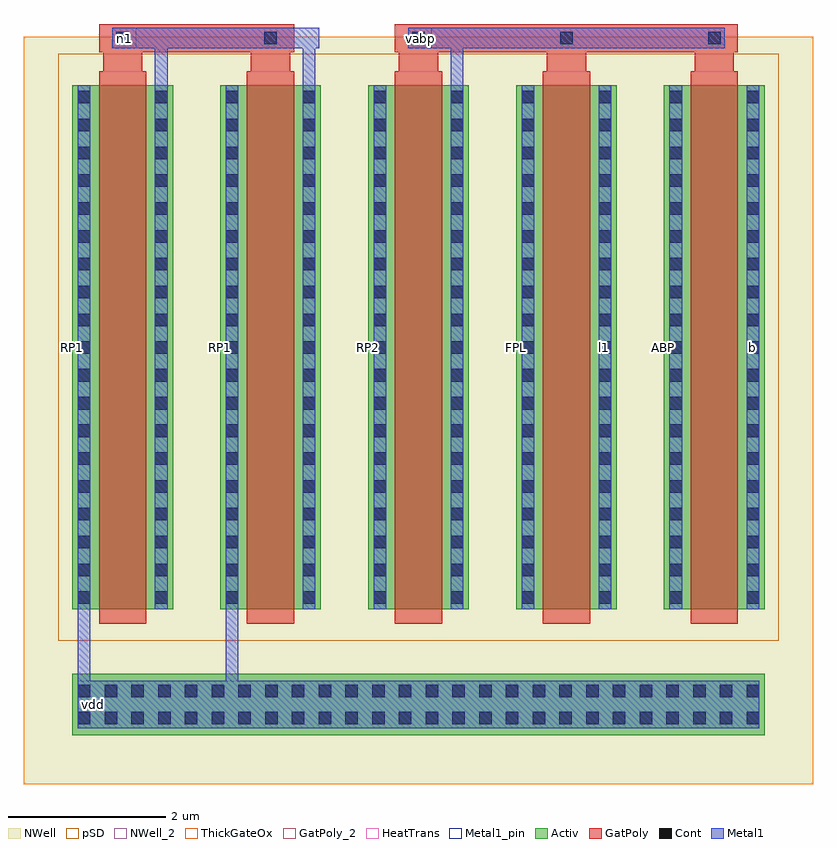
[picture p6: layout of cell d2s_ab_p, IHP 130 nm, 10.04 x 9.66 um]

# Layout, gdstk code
import gdstk
lib = gdstk.Library(unit=1e-6, precision=1e-09)
def R(c, l, rs):  # rectangles x0, y0, x1, y1
    for r in rs: c.add(gdstk.rectangle(r[:2], r[2:], *l))
def A(c, l, x, y, w, h, nx, ny, dx, dy):  # array of equal rectangles
    R(c, l, [(x+i*dx, y+j*dy, x+i*dx+w, y+j*dy+h) for i in range(nx) for j in range(ny)])
Activ = (1, 0)
GatPoly = (5, 0)
GatPoly_2 = (5, 2)
Cont = (6, 0)
Metal1 = (8, 0)
Metal1_pin = (8, 2)
pSD = (14, 0)
NWell = (31, 0)
NWell_2 = (31, 2)
ThickGateOx = (44, 0)
HeatTrans = (51, 0)

pmoshv_5 = lib.new_cell('pmosHV$5')
R(pmoshv_5, Activ, [(0,0,0.3,0.3), (0,0,1.28,6.66), (0.98,0,1.28,0.3)])
R(pmoshv_5, GatPoly, [(0.34,-0.18,0.94,6.84)])
R(pmoshv_5, GatPoly_2, [(0.34,-0.18,0.94,6.84)])
A(pmoshv_5, Cont, 0.07, 0.42, 0.16, 0.16, 1, 3, 0, 0.355)
A(pmoshv_5, Cont, 1.05, 0.42, 0.16, 0.16, 1, 3, 0, 0.355)
A(pmoshv_5, Cont, 0.07, 1.48, 0.16, 0.16, 1, 3, 0, 0.355)
A(pmoshv_5, Cont, 1.05, 1.48, 0.16, 0.16, 1, 3, 0, 0.355)
A(pmoshv_5, Cont, 0.07, 2.54, 0.16, 0.16, 1, 3, 0, 0.355)
A(pmoshv_5, Cont, 1.05, 2.54, 0.16, 0.16, 1, 3, 0, 0.355)
A(pmoshv_5, Cont, 0.07, 3.6, 0.16, 0.16, 1, 3, 0, 0.355)
A(pmoshv_5, Cont, 1.05, 3.6, 0.16, 0.16, 1, 3, 0, 0.355)
A(pmoshv_5, Cont, 0.07, 4.66, 0.16, 0.16, 1, 3, 0, 0.355)
A(pmoshv_5, Cont, 1.05, 4.66, 0.16, 0.16, 1, 3, 0, 0.355)
A(pmoshv_5, Cont, 0.07, 5.72, 0.16, 0.16, 1, 3, 0, 0.355)
A(pmoshv_5, Cont, 1.05, 5.72, 0.16, 0.16, 1, 3, 0, 0.355)
R(pmoshv_5, Cont, [(0.07,0.07,0.23,0.23), (1.05,0.07,1.21,0.23)])
R(pmoshv_5, Metal1, [(0.07,0,0.23,6.66), (1.05,0,1.21,6.66)])
R(pmoshv_5, Metal1_pin, [(0.07,0,0.23,6.66), (1.05,0,1.21,6.66)])
R(pmoshv_5, pSD, [(-0.18,-0.4,1.46,7.06)])
R(pmoshv_5, NWell, [(-0.62,-0.62,1.9,7.28)])
R(pmoshv_5, ThickGateOx, [(-0.62,-0.62,1.9,7.28)])
R(pmoshv_5, HeatTrans, [(0.34,-0.18,0.94,6.84)])
pmoshv_5.add(gdstk.Label('pmosHV', (0.64,3.33), layer=63, texttype=0))
pmoshv_5.add(gdstk.Label('pmos', (0.64,3.33), layer=51, texttype=0))

ntap1_7 = lib.new_cell('ntap1$7')
R(ntap1_7, Activ, [(0,0,8.8,0.78)])
A(ntap1_7, Cont, 0.07, 0.14, 0.16, 0.16, 26, 2, 0.34, 0.34)
R(ntap1_7, Metal1, [(0.07,0.09,8.73,0.69)])
R(ntap1_7, Metal1_pin, [(0.07,0.09,8.73,0.69), (0.07,0.14,8.73,0.64)])
R(ntap1_7, NWell, [(-0.24,-0.24,9.04,1.02), (0,0,8.8,0.78)])
R(ntap1_7, NWell_2, [(0,0,8.8,0.78)])
ntap1_7.add(gdstk.Label('well', (4.4,0.01), layer=63, texttype=0))
ntap1_7.add(gdstk.Label('well', (4.4,0.01), layer=31, texttype=0))

d2s_ab_p = lib.new_cell('d2s_ab_p')
A(d2s_ab_p, GatPoly, 0.39, 6.66, 0.5, 0.43, 5, 1, 1.88, 0)
R(d2s_ab_p, GatPoly, [(0.34,7.08,2.82,7.44), (4.1,7.08,8.46,7.44)])
A(d2s_ab_p, Cont, 0.56, 7.18, 0.16, 0.16, 5, 1, 1.88, 0)
A(d2s_ab_p, Metal1, 1.05, 6.61, 0.16, 0.65, 3, 1, 1.88, 0)
R(d2s_ab_p, Metal1, [(0.07,-1.51,2.11,-0.91), (0.07,-1.01,0.23,0.05), (1.95,-1.01,2.11,0.05), (0.51,7.13,3.14,7.39), (4.27,7.13,8.29,7.39)])
R(d2s_ab_p, Metal1_pin, [(0.07,-1.51,0.47,-0.91), (3.83,3.08,3.99,3.58), (5.71,3.08,5.87,3.58), (6.69,3.08,6.85,3.58), (7.59,3.08,7.75,3.58), (8.57,3.08,8.73,3.58), (0.51,7.13,0.81,7.39), (4.27,7.13,4.57,7.39)])
R(d2s_ab_p, pSD, [(-0.18,-0.4,8.98,7.06)])
R(d2s_ab_p, NWell, [(-0.62,-2.22,9.42,7.28)])
R(d2s_ab_p, ThickGateOx, [(-0.62,-2.22,9.42,7.28)])
d2s_ab_p.add(gdstk.Reference(pmoshv_5, (0,0)))
d2s_ab_p.add(gdstk.Reference(pmoshv_5, (1.88,0)))
d2s_ab_p.add(gdstk.Reference(pmoshv_5, (3.76,0)))
d2s_ab_p.add(gdstk.Reference(pmoshv_5, (5.64,0)))
d2s_ab_p.add(gdstk.Reference(pmoshv_5, (7.52,0)))
d2s_ab_p.add(gdstk.Reference(ntap1_7, (0,-1.6)))
d2s_ab_p.add(gdstk.Label('RP1', (0,3.33), layer=63, texttype=0))
d2s_ab_p.add(gdstk.Label('RP1', (1.88,3.33), layer=63, texttype=0))
d2s_ab_p.add(gdstk.Label('RP2', (3.76,3.33), layer=63, texttype=0))
d2s_ab_p.add(gdstk.Label('FPL', (5.64,3.33), layer=63, texttype=0))
d2s_ab_p.add(gdstk.Label('ABP', (7.52,3.33), layer=63, texttype=0))
d2s_ab_p.add(gdstk.Label('n1', (0.66,7.26), layer=8, texttype=25))
d2s_ab_p.add(gdstk.Label('vabp', (4.42,7.26), layer=8, texttype=25))
d2s_ab_p.add(gdstk.Label('vdd', (0.27,-1.21), layer=8, texttype=25))
d2s_ab_p.add(gdstk.Label('n1', (3.91,3.33), layer=8, texttype=25))
d2s_ab_p.add(gdstk.Label('l2', (5.79,3.33), layer=8, texttype=25))
d2s_ab_p.add(gdstk.Label('l1', (6.77,3.33), layer=8, texttype=25))
d2s_ab_p.add(gdstk.Label('a', (7.67,3.33), layer=8, texttype=25))
d2s_ab_p.add(gdstk.Label('b', (8.65,3.33), layer=8, texttype=25))

lib.write_gds('d2s_ab_p.gds')
